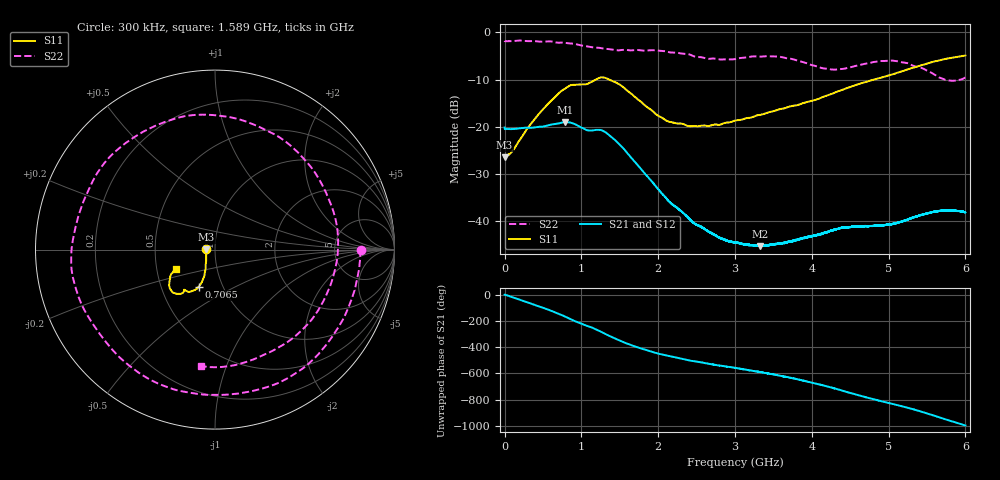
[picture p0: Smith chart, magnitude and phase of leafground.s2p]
!  8/6/2020  01:20:13
! Ref Plane: 0.000 mm
# MHZ S MA R  50
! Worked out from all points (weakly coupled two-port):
!   10001 points, 300 kHz to 6 GHz, reference 50 ohm
!   highest |S21| = -18.99 dB at 789.3 MHz (marker M1); lowest = -45.2 dB at 3.328 GHz (marker M2)
!   lowest |S11| = -26.5 dB at 300 kHz (marker M3), VSWR 1.10, Z = 45.5 + j0.115 ohm
!   |S11| at or under -10 dB: start of sweep to 1.185 GHz; 1.366 GHz to 4.8 GHz (3.434 GHz wide, 111 % of centre)
!   |S22| runs from -10.2 to -1.7 dB; largest |S21 - S12| = 0.0022
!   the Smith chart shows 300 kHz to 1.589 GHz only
!   S11 on the Smith chart (normalised r, x): 300 kHz: 0.91, +0.00; 706.5 MHz: 0.77, -0.34; 1.589 GHz: 0.63, -0.15
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0.3  0.04756 178.5  0.0988 -1.0  0.09664 -0.8  0.8162 -0.3
333.8833  0.1059 -119.3  0.09812 -67.0  0.09818 -67.0  0.8097 -97.6
540.273  0.1666 -112.2  0.1027 -109.2  0.1028 -109.3  0.8026 -156.4
706.4647  0.2276 -113.8  0.1093 -147.0  0.1094 -147.0  0.7789 156.2
789.2606  0.2556 -117.3  0.1123 -168.2  0.1124 -168.2  0.7766 132.6
1000.45  0.2818 -126.8  0.0986 137.1  0.09865 137.1  0.7291 72.1
1265.637  0.335 -135.3  0.09219 74.0  0.09225 73.9  0.6815 -5.4
1589.021  0.2454 -153.3  0.05393 -11.7  0.05397 -11.7  0.6533 -97.1
2000.6  0.1317 -140.5  0.02197 -89.0  0.02195 -89.0  0.6411 153.2
2260.387  0.1087 -116.8  0.01362 -122.3  0.01365 -122.4  0.6084 84.8
2541.773  0.1025 -91.8  0.008929 -153.5  0.008921 -153.5  0.5491 6.0
2779.361  0.1052 -72.6  0.006845 -178.5  0.006835 -178.6  0.5225 -65.2
3000.15  0.1168 -56.3  0.005958 162.7  0.005996 163.1  0.5222 -131.3
3328.334  0.1344 -36.8  0.00548 130.5  0.005544 130.7  0.5549 141.7
3605.52  0.1555 -23.4  0.005892 100.4  0.005868 100.4  0.5491 73.9
4000.3  0.1892 -4.9  0.007005 50.2  0.00706 49.7  0.4516 -30.6
4224.089  0.2187 5.0  0.007878 18.2  0.007916 18.4  0.4108 -100.0
4489.275  0.2629 12.6  0.008726 -26.4  0.008752 -26.4  0.4255 177.0
4764.662  0.3106 18.3  0.008959 -69.9  0.009004 -69.7  0.4778 103.2
5000.45  0.3513 23.3  0.009338 -104.6  0.009293 -104.4  0.5021 46.6
5509.225  0.4712 29.0  0.01222 174.4  0.01224 174.7  0.3915 -76.2
6000  0.5703 28.5  0.0125 85.0  0.01254 85.1  0.3338 121.2
